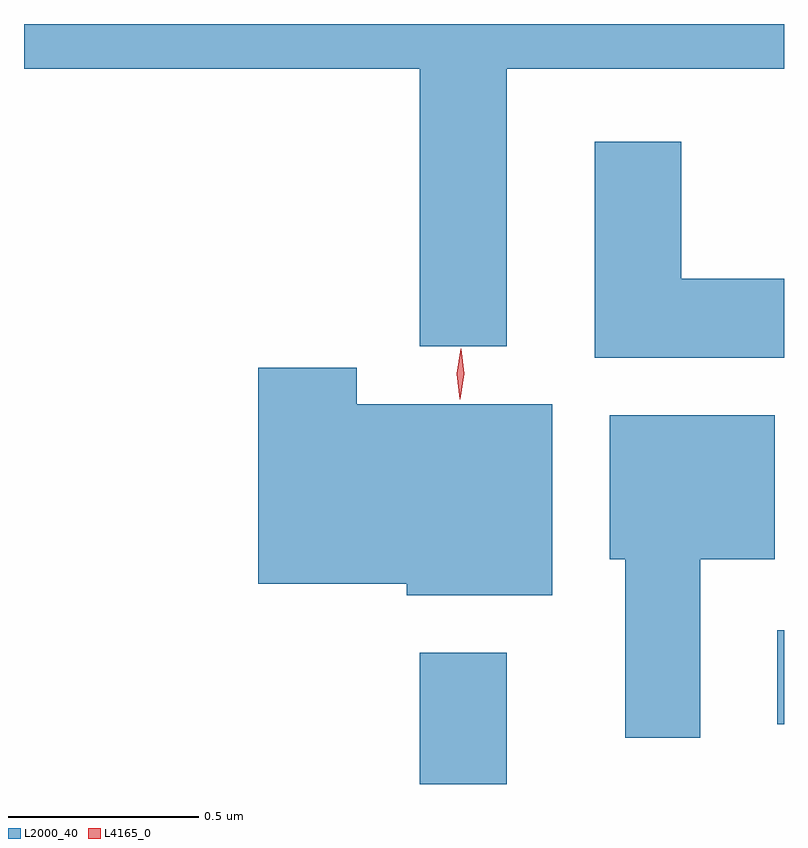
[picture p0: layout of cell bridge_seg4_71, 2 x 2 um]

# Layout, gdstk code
import gdstk
lib = gdstk.Library(unit=1e-6, precision=1e-09)
def R(c, l, rs):  # rectangles x0, y0, x1, y1
    for r in rs: c.add(gdstk.rectangle(r[:2], r[2:], *l))
def P(c, l, *ps):  # polygons
    for p in ps: c.add(gdstk.Polygon(p, *l))
L2000_40 = (2000, 40)
L4165_0 = (4165, 0)

bridge_seg4_71 = lib.new_cell('bridge_seg4_71')
R(bridge_seg4_71, L2000_40, [(1695.691,1370.554,1695.919,1370.899), (1696.631,1370.711,1696.649,1370.959)])
P(bridge_seg4_71, L2000_40, [(1695.919,1372.436),(1696.649,1372.436),(1696.649,1372.554),(1694.649,1372.554),(1694.649,1372.436),(1695.691,1372.436),(1695.691,1371.706),(1695.919,1371.706)],
  [(1696.649,1371.884),(1696.379,1371.884),(1696.379,1372.244),(1696.151,1372.244),(1696.151,1371.676),(1696.649,1371.676)],
  [(1696.039,1371.554),(1695.524,1371.554),(1695.524,1371.649),(1695.266,1371.649),(1695.266,1371.081),(1695.656,1371.081),(1695.656,1371.051),(1696.039,1371.051)],
  [(1696.429,1371.146),(1696.624,1371.146),(1696.624,1371.524),(1696.191,1371.524),(1696.191,1371.146),(1696.231,1371.146),(1696.231,1370.676),(1696.429,1370.676)])
P(bridge_seg4_71, L4165_0, [(1695.797,1371.566),(1695.796,1371.567),(1695.788,1371.633),(1695.798,1371.699),(1695.798,1371.699),(1695.799,1371.699),(1695.808,1371.633),(1695.797,1371.567)])

lib.write_gds('bridge_seg4_71.gds')
